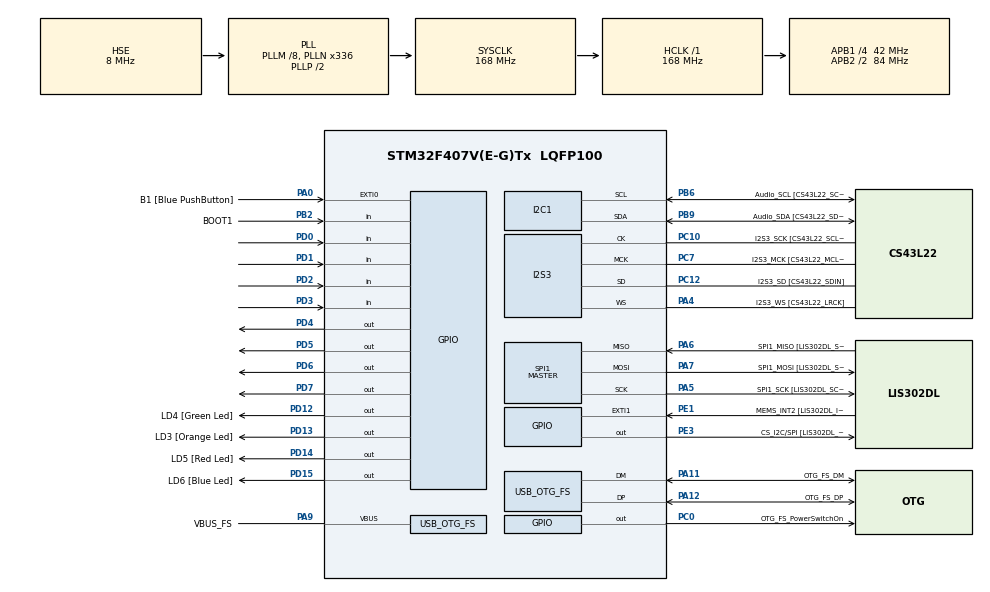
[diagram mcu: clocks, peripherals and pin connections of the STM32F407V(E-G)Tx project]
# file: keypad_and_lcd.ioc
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I2C1.I2C_Mode=I2C_Fast
I2S3.AudioFreq-Half_Duplex_Master=I2S_AUDIOFREQ_96K
I2S3.ErrorAudioFreq=-2.34 %
I2S3.ErrorAudioFreq-Half_Duplex_Master=0.8 %
I2S3.FullDuplexMode=I2S_FULLDUPLEXMODE_DISABLE
I2S3.Instance=SPI$Index
I2S3.RealAudioFreq=93.75 KHz
I2S3.RealAudioFreq-Half_Duplex_Master=96.774 KHz
I2S3.VirtualMode=I2S_MODE_MASTER
Mcu.Family=STM32F4
Mcu.Name=STM32F407V(E-G)Tx
Mcu.Package=LQFP100
NVIC.OTG_FS_IRQn=true\:0\:0\:false\:false\:true\:true\:true\:true
NVIC.PriorityGroup=NVIC_PRIORITYGROUP_0
PA0-WKUP.GPIO_Label=B1 [Blue PushButton]
PA0-WKUP.GPIO_ModeDefaultEXTI=GPIO_MODE_EVT_RISING
PA0-WKUP.GPIO_PuPd=GPIO_NOPULL
PA0-WKUP.Signal=GPXTI0
PA10.GPIO_Label=OTG_FS_ID
PA10.GPIO_Mode=GPIO_MODE_AF_PP
PA10.GPIO_PuPd=GPIO_NOPULL
PA10.GPIO_Speed=GPIO_SPEED_FREQ_LOW
PA10.Signal=USB_OTG_FS_ID
PA11.GPIO_Label=OTG_FS_DM
PA11.GPIO_Mode=GPIO_MODE_AF_PP
PA11.GPIO_PuPd=GPIO_NOPULL
PA11.GPIO_Speed=GPIO_SPEED_FREQ_LOW
PA11.Mode=Host_Only
PA11.Signal=USB_OTG_FS_DM
PA12.GPIO_Label=OTG_FS_DP
PA12.GPIO_Mode=GPIO_MODE_AF_PP
PA12.GPIO_PuPd=GPIO_NOPULL
PA12.GPIO_Speed=GPIO_SPEED_FREQ_LOW
PA12.Mode=Host_Only
PA12.Signal=USB_OTG_FS_DP
PA13.GPIO_Label=SWDIO
PA13.Mode=Serial_Wire
PA13.Signal=SYS_JTMS-SWDIO
PA14.GPIO_Label=SWCLK
PA14.Mode=Serial_Wire
PA14.Signal=SYS_JTCK-SWCLK
PA4.GPIO_Label=I2S3_WS [CS43L22_LRCK]
PA4.GPIO_Mode=GPIO_MODE_AF_PP
PA4.GPIO_PuPd=GPIO_NOPULL
PA4.GPIO_Speed=GPIO_SPEED_FREQ_LOW
PA4.Mode=Half_Duplex_Master
PA4.Signal=I2S3_WS
PA5.GPIO_Label=SPI1_SCK [LIS302DL_SCL/SPC]
PA5.GPIO_Mode=GPIO_MODE_AF_PP
PA5.GPIO_PuPd=GPIO_NOPULL
PA5.GPIO_Speed=GPIO_SPEED_FREQ_LOW
PA5.Mode=Full_Duplex_Master
PA5.Signal=SPI1_SCK
PA6.GPIO_Label=SPI1_MISO [LIS302DL_SDO]
PA6.GPIO_Mode=GPIO_MODE_AF_PP
PA6.GPIO_PuPd=GPIO_NOPULL
PA6.GPIO_Speed=GPIO_SPEED_FREQ_LOW
PA6.Mode=Full_Duplex_Master
PA6.Signal=SPI1_MISO
PA7.GPIO_Label=SPI1_MOSI [LIS302DL_SDA/SDI/SDO]
PA7.GPIO_Mode=GPIO_MODE_AF_PP
PA7.GPIO_PuPd=GPIO_NOPULL
PA7.GPIO_Speed=GPIO_SPEED_FREQ_LOW
PA7.Mode=Full_Duplex_Master
PA7.Signal=SPI1_MOSI
PA9.GPIO_Label=VBUS_FS
PA9.GPIO_Mode=GPIO_MODE_INPUT
PA9.GPIO_PuPd=GPIO_NOPULL
PA9.Mode=Activate_VBUS
PA9.Signal=USB_OTG_FS_VBUS
PB10.GPIO_Label=CLK_IN [MP45DT02_CLK]
PB10.GPIO_Mode=GPIO_MODE_AF_PP
PB10.GPIO_PuPd=GPIO_NOPULL
PB10.GPIO_Speed=GPIO_SPEED_FREQ_LOW
PB10.Signal=I2S2_CK
PB2.GPIO_Label=BOOT1
PB2.GPIO_Mode=GPIO_MODE_INPUT
PB2.GPIO_PuPd=GPIO_NOPULL
PB2.Signal=GPIO_Input
PB3.GPIO_Label=SWO
PB3.Signal=SYS_JTDO-SWO
PB6.GPIO_Label=Audio_SCL [CS43L22_SCL]
PB6.GPIO_Mode=GPIO_MODE_AF_OD
PB6.GPIO_Pu=GPIO_PULLUP
PB6.GPIO_PuPd=GPIO_NOPULL
PB6.GPIO_Speed=GPIO_SPEED_FREQ_LOW
PB6.Mode=I2C
PB6.Signal=I2C1_SCL
PB9.GPIO_Label=Audio_SDA [CS43L22_SDA]
PB9.GPIO_Mode=GPIO_MODE_AF_OD
PB9.GPIO_Pu=GPIO_PULLUP
PB9.GPIO_PuPd=GPIO_NOPULL
PB9.GPIO_Speed=GPIO_SPEED_FREQ_LOW
PB9.Mode=I2C
PB9.Signal=I2C1_SDA
PC0.GPIO_Label=OTG_FS_PowerSwitchOn
PC0.GPIO_PuPd=GPIO_NOPULL
PC0.GPIO_Speed=GPIO_SPEED_FREQ_LOW
PC0.PinState=GPIO_PIN_SET
PC0.Signal=GPIO_Output
PC10.GPIO_Label=I2S3_SCK [CS43L22_SCLK]
PC10.GPIO_Mode=GPIO_MODE_AF_PP
PC10.GPIO_PuPd=GPIO_NOPULL
PC10.GPIO_Speed=GPIO_SPEED_FREQ_LOW
PC10.Mode=Half_Duplex_Master
PC10.Signal=I2S3_CK
PC12.GPIO_Label=I2S3_SD [CS43L22_SDIN]
PC12.GPIO_Mode=GPIO_MODE_AF_PP
PC12.GPIO_PuPd=GPIO_NOPULL
PC12.GPIO_Speed=GPIO_SPEED_FREQ_LOW
PC12.Mode=Half_Duplex_Master
PC12.Signal=I2S3_SD
PC14-OSC32_IN.GPIO_Label=PC14-OSC32_IN
PC14-OSC32_IN.Mode=LSE-External-Oscillator
PC14-OSC32_IN.Signal=RCC_OSC32_IN
PC15-OSC32_OUT.GPIO_Label=PC15-OSC32_OUT
PC15-OSC32_OUT.Mode=LSE-External-Oscillator
PC15-OSC32_OUT.Signal=RCC_OSC32_OUT
PC3.GPIO_Label=PDM_OUT [MP45DT02_DOUT]
PC3.GPIO_Mode=GPIO_MODE_AF_PP
PC3.GPIO_PuPd=GPIO_NOPULL
PC3.GPIO_Speed=GPIO_SPEED_FREQ_LOW
PC3.Signal=I2S2_SD
PC7.GPIO_Label=I2S3_MCK [CS43L22_MCLK]
PC7.GPIO_Mode=GPIO_MODE_AF_PP
PC7.GPIO_PuPd=GPIO_NOPULL
PC7.GPIO_Speed=GPIO_SPEED_FREQ_LOW
PC7.Mode=Master_Clock_Activated
PC7.Signal=I2S3_MCK
PD0.Signal=GPIO_Input
PD1.Signal=GPIO_Input
PD12.GPIO_Label=LD4 [Green Led]
PD12.GPIO_PuPd=GPIO_NOPULL
PD12.GPIO_Speed=GPIO_SPEED_FREQ_LOW
PD12.Signal=GPIO_Output
PD13.GPIO_Label=LD3 [Orange Led]
PD13.GPIO_PuPd=GPIO_NOPULL
PD13.GPIO_Speed=GPIO_SPEED_FREQ_LOW
PD13.Signal=GPIO_Output
PD14.GPIO_Label=LD5 [Red Led]
PD14.GPIO_PuPd=GPIO_NOPULL
PD14.GPIO_Speed=GPIO_SPEED_FREQ_LOW
PD14.Signal=GPIO_Output
PD15.GPIO_Label=LD6 [Blue Led]
PD15.GPIO_PuPd=GPIO_NOPULL
PD15.GPIO_Speed=GPIO_SPEED_FREQ_LOW
PD15.Signal=GPIO_Output
PD2.Signal=GPIO_Input
PD3.Signal=GPIO_Input
PD4.Signal=GPIO_Output
PD5.Signal=GPIO_Output
PD6.Signal=GPIO_Output
PD7.Signal=GPIO_Output
PE1.GPIO_Label=MEMS_INT2 [LIS302DL_INT2]
PE1.GPIO_ModeDefaultEXTI=GPIO_MODE_EVT_RISING
PE1.GPIO_PuPd=GPIO_NOPULL
PE1.Signal=GPXTI1
PE3.GPIO_Label=CS_I2C/SPI [LIS302DL_CS_I2C/SPI]
PE3.GPIO_PuPd=GPIO_NOPULL
PE3.GPIO_Speed=GPIO_SPEED_FREQ_LOW
PE3.Signal=GPIO_Output
PH0-OSC_IN.GPIO_Label=PH0-OSC_IN
PH0-OSC_IN.Mode=HSE-External-Oscillator
PH0-OSC_IN.Signal=RCC_OSC_IN
PH1-OSC_OUT.GPIO_Label=PH1-OSC_OUT
PH1-OSC_OUT.Mode=HSE-External-Oscillator
PH1-OSC_OUT.Signal=RCC_OSC_OUT
ProjectManager.HeapSize=0x200
ProjectManager.StackSize=0x400
ProjectManager.TargetToolchain=STM32CubeIDE
RCC.48MHZClocksFreq_Value=48000000
RCC.AHBFreq_Value=168000000
RCC.APB1CLKDivider=RCC_HCLK_DIV4
RCC.APB1Freq_Value=42000000
RCC.APB1TimFreq_Value=84000000
RCC.APB2CLKDivider=RCC_HCLK_DIV2
RCC.APB2Freq_Value=84000000
RCC.APB2TimFreq_Value=168000000
RCC.CortexFreq_Value=168000000
RCC.HCLKFreq_Value=168000000
RCC.HSE_VALUE=8000000
RCC.HSI_VALUE=16000000
RCC.PLLM=8
RCC.PLLN=336
RCC.PLLQ=7
RCC.SYSCLKFreq_VALUE=168000000
RCC.SYSCLKSource=RCC_SYSCLKSOURCE_PLLCLK
RCC.VCOOutputFreq_Value=336000000
SPI1.BaudRatePrescaler-Full_Duplex_Master=SPI_BAUDRATEPRESCALER_2
SPI1.CalculateBaudRate-Full_Duplex_Master=42.0 MBits/s
SPI1.Direction=SPI_DIRECTION_2LINES
SPI1.Mode=SPI_MODE_MASTER
SPI1.Mode-Full_Duplex_Master=SPI_MODE_MASTER
SPI1.VirtualType=VM_MASTER
USB_HOST.BSP.number=1
USB_HOST.USBH_HandleTypeDef-CDC_FS=hUsbHostFS
USB_HOST.VirtualModeFS=Cdc
USB_HOST0.BSP.STBoard=false
USB_HOST0.BSP.api=Unknown
USB_HOST0.BSP.instance=PC0
USB_HOST0.BSP.ip=GPIO
USB_HOST0.BSP.mode=Output
USB_HOST0.BSP.name=Drive_VBUS_FS
USB_HOST0.BSP.solution=PC0
USB_OTG_FS.VirtualMode=Host_Only
USB_OTG_FS.phy_itface=HCD_PHY_EMBEDDED
VP_USB_HOST_VS_USB_HOST_CDC_FS.Mode=CDC_FS
board=STM32F407G-DISC1

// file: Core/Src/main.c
/* USER CODE BEGIN Header */
/**
  ******************************************************************************
  * @file           : main.c
  * @brief          : Main program body
  ******************************************************************************
  * @attention
  *
  * Copyright (c) 2024 STMicroelectronics.
  * All rights reserved.
  *
  * This software is licensed under terms that can be found in the LICENSE file
  * in the root directory of this software component.
  * If no LICENSE file comes with this software, it is provided AS-IS.
  *
  ******************************************************************************
  */
/* USER CODE END Header */
#include "main.h"
#include "usb_host.h"

/* USER CODE BEGIN Includes */
#include "i2c-lcd.h"
#include "MY_Keypad4x4.h"
#include "stdbool.h"
/* USER CODE END Includes */

I2C_HandleTypeDef hi2c1;

I2S_HandleTypeDef hi2s3;

SPI_HandleTypeDef hspi1;

/* USER CODE BEGIN PV */
uint8_t LCD_ADDRESS = 0;

bool myKeys[16];
char pressedKey=0;
/* USER CODE END PV */

void SystemClock_Config(void);
static void MX_GPIO_Init(void);
static void MX_I2C1_Init(void);
static void MX_I2S3_Init(void);
static void MX_SPI1_Init(void);
void MX_USB_HOST_Process(void);

/* USER CODE BEGIN 0 */
void addressFinder() //this func. is find lcd slave address
{
	for(LCD_ADDRESS = 0; LCD_ADDRESS<=255; LCD_ADDRESS++)
	{
		if(HAL_I2C_IsDeviceReady(&hi2c1, LCD_ADDRESS, 1, 100)==HAL_OK)
			break;
	}
}

void write_KeyPad_to_LCDdisplay()
{
    for(int i=0; i<16; i++)
    {
    	if(myKeys[i])

    	{
            switch (i)
            {
                case 0: pressedKey = '1'; break;
                case 1: pressedKey = '2'; break;
                case 2: pressedKey = '3'; break;
                case 3: pressedKey = 'A'; break;
                case 4: pressedKey = '4'; break;
                case 5: pressedKey = '5'; break;
                case 6: pressedKey = '6'; break;
                case 7: pressedKey = 'B'; break;
                case 8: pressedKey = '7'; break;
                case 9: pressedKey = '8'; break;
                case 10: pressedKey = '9'; break;
                case 11: pressedKey = 'C'; break;
                case 12: pressedKey = '*'; break;
                case 13: pressedKey = '0'; break;
                case 14: pressedKey = '#'; break;
                case 15: pressedKey = 'D'; break;
            }
            lcd_send_data(pressedKey);
    	}
    }
}

/* USER CODE END 0 */

int main(void)
{
  /* USER CODE BEGIN 1 */
	Keypad_WiresTypeDef myKeyPad;
	myKeyPad.IN0_Port = GPIOD;
	myKeyPad.IN1_Port = GPIOD;
	myKeyPad.IN2_Port = GPIOD;
	myKeyPad.IN3_Port = GPIOD;
	myKeyPad.OUT0_Port = GPIOD;
	myKeyPad.OUT1_Port = GPIOD;
	myKeyPad.OUT2_Port = GPIOD;
	myKeyPad.OUT3_Port = GPIOD;
	myKeyPad.IN0pin = GPIO_PIN_0;
	myKeyPad.IN1pin = GPIO_PIN_1;
	myKeyPad.IN2pin = GPIO_PIN_2;
	myKeyPad.IN3pin = GPIO_PIN_3;
	myKeyPad.OUT0pin = GPIO_PIN_4;
	myKeyPad.OUT1pin = GPIO_PIN_5;
	myKeyPad.OUT2pin = GPIO_PIN_6;
	myKeyPad.OUT3pin = GPIO_PIN_7;

  /* USER CODE END 1 */

  /* MCU Configuration--------------------------------------------------------*/

  /* Reset of all peripherals, Initializes the Flash interface and the Systick. */
  HAL_Init();

  /* Configure the system clock */
  SystemClock_Config();

  /* Initialize all configured peripherals */
  MX_GPIO_Init();
  MX_I2C1_Init();
  MX_I2S3_Init();
  MX_SPI1_Init();
  MX_USB_HOST_Init();
  /* USER CODE BEGIN 2 */
  Keypad4x4_Init(&myKeyPad);

  addressFinder();
  lcd_init();
  lcd_put_cur(0, 0);
  lcd_send_string ("STM32-I2C-LCD");
  lcd_put_cur(1, 0);
  lcd_send_string("SILICON ROOM");
  HAL_Delay(4000);
  lcd_clear();
  /* USER CODE END 2 */

  /* Infinite loop */
  while (1)
  {
    MX_USB_HOST_Process();

    Keypad4x4_ReadKeypad(myKeys);

    lcd_put_cur(0, 0);
    lcd_send_string("Key Value -> ");
    write_KeyPad_to_LCDdisplay();

  }
}

void SystemClock_Config(void)
{
  RCC_OscInitTypeDef RCC_OscInitStruct = {0};
  RCC_ClkInitTypeDef RCC_ClkInitStruct = {0};

  /** Configure the main internal regulator output voltage
  */
  __HAL_RCC_PWR_CLK_ENABLE();
  __HAL_PWR_VOLTAGESCALING_CONFIG(PWR_REGULATOR_VOLTAGE_SCALE1);

  /** Initializes the RCC Oscillators according to the specified parameters
  * in the RCC_OscInitTypeDef structure.
  */
  RCC_OscInitStruct.OscillatorType = RCC_OSCILLATORTYPE_HSE;
  RCC_OscInitStruct.HSEState = RCC_HSE_ON;
  RCC_OscInitStruct.PLL.PLLState = RCC_PLL_ON;
  RCC_OscInitStruct.PLL.PLLSource = RCC_PLLSOURCE_HSE;
  RCC_OscInitStruct.PLL.PLLM = 8;
  RCC_OscInitStruct.PLL.PLLN = 336;
  RCC_OscInitStruct.PLL.PLLP = RCC_PLLP_DIV2;
  RCC_OscInitStruct.PLL.PLLQ = 7;
  if (HAL_RCC_OscConfig(&RCC_OscInitStruct) != HAL_OK)
  {
    Error_Handler();
  }

  /** Initializes the CPU, AHB and APB buses clocks
  */
  RCC_ClkInitStruct.ClockType = RCC_CLOCKTYPE_HCLK|RCC_CLOCKTYPE_SYSCLK
                              |RCC_CLOCKTYPE_PCLK1|RCC_CLOCKTYPE_PCLK2;
  RCC_ClkInitStruct.SYSCLKSource = RCC_SYSCLKSOURCE_PLLCLK;
  RCC_ClkInitStruct.AHBCLKDivider = RCC_SYSCLK_DIV1;
  RCC_ClkInitStruct.APB1CLKDivider = RCC_HCLK_DIV4;
  RCC_ClkInitStruct.APB2CLKDivider = RCC_HCLK_DIV2;

  if (HAL_RCC_ClockConfig(&RCC_ClkInitStruct, FLASH_LATENCY_5) != HAL_OK)
  {
    Error_Handler();
  }
}

static void MX_I2C1_Init(void)
{

  hi2c1.Instance = I2C1;
  hi2c1.Init.ClockSpeed = 400000;
  hi2c1.Init.DutyCycle = I2C_DUTYCYCLE_2;
  hi2c1.Init.OwnAddress1 = 0;
  hi2c1.Init.AddressingMode = I2C_ADDRESSINGMODE_7BIT;
  hi2c1.Init.DualAddressMode = I2C_DUALADDRESS_DISABLE;
  hi2c1.Init.OwnAddress2 = 0;
  hi2c1.Init.GeneralCallMode = I2C_GENERALCALL_DISABLE;
  hi2c1.Init.NoStretchMode = I2C_NOSTRETCH_DISABLE;
  if (HAL_I2C_Init(&hi2c1) != HAL_OK)
  {
    Error_Handler();
  }

}

static void MX_I2S3_Init(void)
{

  hi2s3.Instance = SPI3;
  hi2s3.Init.Mode = I2S_MODE_MASTER_TX;
  hi2s3.Init.Standard = I2S_STANDARD_PHILIPS;
  hi2s3.Init.DataFormat = I2S_DATAFORMAT_16B;
  hi2s3.Init.MCLKOutput = I2S_MCLKOUTPUT_ENABLE;
  hi2s3.Init.AudioFreq = I2S_AUDIOFREQ_96K;
  hi2s3.Init.CPOL = I2S_CPOL_LOW;
  hi2s3.Init.ClockSource = I2S_CLOCK_PLL;
  hi2s3.Init.FullDuplexMode = I2S_FULLDUPLEXMODE_DISABLE;
  if (HAL_I2S_Init(&hi2s3) != HAL_OK)
  {
    Error_Handler();
  }

}

static void MX_SPI1_Init(void)
{

  /* SPI1 parameter configuration*/
  hspi1.Instance = SPI1;
  hspi1.Init.Mode = SPI_MODE_MASTER;
  hspi1.Init.Direction = SPI_DIRECTION_2LINES;
  hspi1.Init.DataSize = SPI_DATASIZE_8BIT;
  hspi1.Init.CLKPolarity = SPI_POLARITY_LOW;
  hspi1.Init.CLKPhase = SPI_PHASE_1EDGE;
  hspi1.Init.NSS = SPI_NSS_SOFT;
  hspi1.Init.BaudRatePrescaler = SPI_BAUDRATEPRESCALER_2;
  hspi1.Init.FirstBit = SPI_FIRSTBIT_MSB;
  hspi1.Init.TIMode = SPI_TIMODE_DISABLE;
  hspi1.Init.CRCCalculation = SPI_CRCCALCULATION_DISABLE;
  hspi1.Init.CRCPolynomial = 10;
  if (HAL_SPI_Init(&hspi1) != HAL_OK)
  {
    Error_Handler();
  }

}

static void MX_GPIO_Init(void)
{
  GPIO_InitTypeDef GPIO_InitStruct = {0};

  /* GPIO Ports Clock Enable */
  __HAL_RCC_GPIOE_CLK_ENABLE();
  __HAL_RCC_GPIOC_CLK_ENABLE();
  __HAL_RCC_GPIOH_CLK_ENABLE();
  __HAL_RCC_GPIOA_CLK_ENABLE();
  __HAL_RCC_GPIOB_CLK_ENABLE();
  __HAL_RCC_GPIOD_CLK_ENABLE();

  /*Configure GPIO pin Output Level */
  HAL_GPIO_WritePin(CS_I2C_SPI_GPIO_Port, CS_I2C_SPI_Pin, GPIO_PIN_RESET);

  /*Configure GPIO pin Output Level */
  HAL_GPIO_WritePin(OTG_FS_PowerSwitchOn_GPIO_Port, OTG_FS_PowerSwitchOn_Pin, GPIO_PIN_SET);

  /*Configure GPIO pin Output Level */
  HAL_GPIO_WritePin(GPIOD, LD4_Pin|LD3_Pin|LD5_Pin|LD6_Pin
                          |GPIO_PIN_4|GPIO_PIN_5|GPIO_PIN_6|GPIO_PIN_7, GPIO_PIN_RESET);

  /*Configure GPIO pin : CS_I2C_SPI_Pin */
  GPIO_InitStruct.Pin = CS_I2C_SPI_Pin;
  GPIO_InitStruct.Mode = GPIO_MODE_OUTPUT_PP;
  GPIO_InitStruct.Pull = GPIO_NOPULL;
  GPIO_InitStruct.Speed = GPIO_SPEED_FREQ_LOW;
  HAL_GPIO_Init(CS_I2C_SPI_GPIO_Port, &GPIO_InitStruct);

  /*Configure GPIO pin : OTG_FS_PowerSwitchOn_Pin */
  GPIO_InitStruct.Pin = OTG_FS_PowerSwitchOn_Pin;
  GPIO_InitStruct.Mode = GPIO_MODE_OUTPUT_PP;
  GPIO_InitStruct.Pull = GPIO_NOPULL;
  GPIO_InitStruct.Speed = GPIO_SPEED_FREQ_LOW;
  HAL_GPIO_Init(OTG_FS_PowerSwitchOn_GPIO_Port, &GPIO_InitStruct);

  /*Configure GPIO pin : PDM_OUT_Pin */
  GPIO_InitStruct.Pin = PDM_OUT_Pin;
  GPIO_InitStruct.Mode = GPIO_MODE_AF_PP;
  GPIO_InitStruct.Pull = GPIO_NOPULL;
  GPIO_InitStruct.Speed = GPIO_SPEED_FREQ_LOW;
  GPIO_InitStruct.Alternate = GPIO_AF5_SPI2;
  HAL_GPIO_Init(PDM_OUT_GPIO_Port, &GPIO_InitStruct);

  /*Configure GPIO pin : B1_Pin */
  GPIO_InitStruct.Pin = B1_Pin;
  GPIO_InitStruct.Mode = GPIO_MODE_EVT_RISING;
  GPIO_InitStruct.Pull = GPIO_NOPULL;
  HAL_GPIO_Init(B1_GPIO_Port, &GPIO_InitStruct);

  /*Configure GPIO pin : BOOT1_Pin */
  GPIO_InitStruct.Pin = BOOT1_Pin;
  GPIO_InitStruct.Mode = GPIO_MODE_INPUT;
  GPIO_InitStruct.Pull = GPIO_NOPULL;
  HAL_GPIO_Init(BOOT1_GPIO_Port, &GPIO_InitStruct);

  /*Configure GPIO pin : CLK_IN_Pin */
  GPIO_InitStruct.Pin = CLK_IN_Pin;
  GPIO_InitStruct.Mode = GPIO_MODE_AF_PP;
  GPIO_InitStruct.Pull = GPIO_NOPULL;
  GPIO_InitStruct.Speed = GPIO_SPEED_FREQ_LOW;
  GPIO_InitStruct.Alternate = GPIO_AF5_SPI2;
  HAL_GPIO_Init(CLK_IN_GPIO_Port, &GPIO_InitStruct);

  /*Configure GPIO pins : LD4_Pin LD3_Pin LD5_Pin LD6_Pin
                           PD4 PD5 PD6 PD7 */
  GPIO_InitStruct.Pin = LD4_Pin|LD3_Pin|LD5_Pin|LD6_Pin
                          |GPIO_PIN_4|GPIO_PIN_5|GPIO_PIN_6|GPIO_PIN_7;
  GPIO_InitStruct.Mode = GPIO_MODE_OUTPUT_PP;
  GPIO_InitStruct.Pull = GPIO_NOPULL;
  GPIO_InitStruct.Speed = GPIO_SPEED_FREQ_LOW;
  HAL_GPIO_Init(GPIOD, &GPIO_InitStruct);

  /*Configure GPIO pins : PD0 PD1 PD2 PD3 */
  GPIO_InitStruct.Pin = GPIO_PIN_0|GPIO_PIN_1|GPIO_PIN_2|GPIO_PIN_3;
  GPIO_InitStruct.Mode = GPIO_MODE_INPUT;
  GPIO_InitStruct.Pull = GPIO_NOPULL;
  HAL_GPIO_Init(GPIOD, &GPIO_InitStruct);

  /*Configure GPIO pin : MEMS_INT2_Pin */
  GPIO_InitStruct.Pin = MEMS_INT2_Pin;
  GPIO_InitStruct.Mode = GPIO_MODE_EVT_RISING;
  GPIO_InitStruct.Pull = GPIO_NOPULL;
  HAL_GPIO_Init(MEMS_INT2_GPIO_Port, &GPIO_InitStruct);

}

void Error_Handler(void)
{
  __disable_irq();
  while (1)
  {
  }
}
